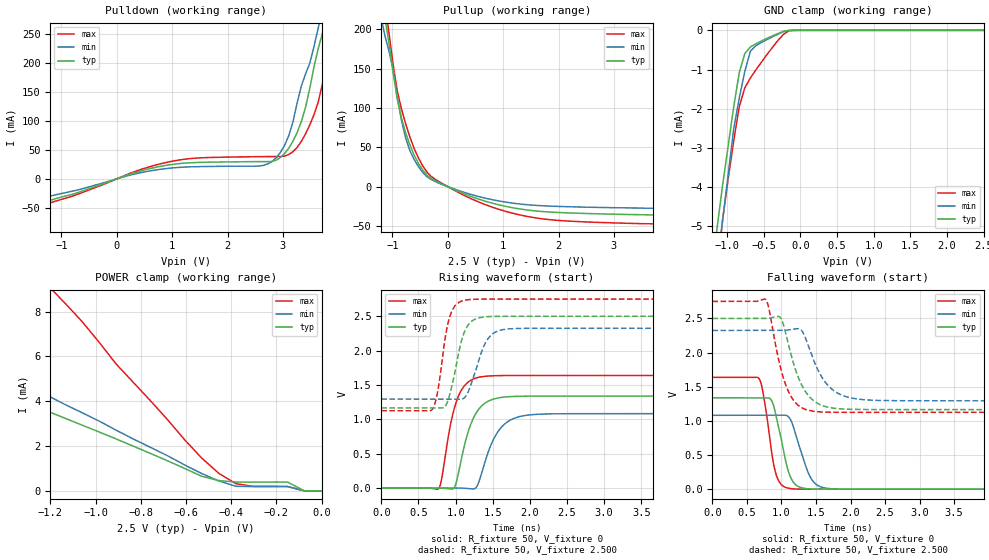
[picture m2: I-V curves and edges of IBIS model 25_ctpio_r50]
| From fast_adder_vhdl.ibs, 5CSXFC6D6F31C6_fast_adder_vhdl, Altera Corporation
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[Model]   25_ctpio_r50
Model_type  I/O
Polarity   Non-Inverting
Enable Active-Low
Vinl   = 0.700
Vinh   = 1.700
Vmeas  = 1.163
Rref   = 10M
Cref   = 0pF
Vref   = 0
C_comp 4.66pF   4.66pF   4.66pF
[Temperature Range] 25   85   0
[Voltage Range] 2.500   2.325   2.750
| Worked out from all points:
|   slope of the pulldown table from 0 to 0.375 V, typ, clamps not added: 31 ohm
|   slope of the pullup table from 0 to 0.375 V, typ, clamps not added: 33 ohm
|   GND clamp passes 1 mA (typ) near -0.82 V on its own axis
|   POWER clamp passes 1 mA (typ) near -0.61 V on its own axis
|   rising waveform, R_fixture 50, V_fixture 0: 20-80 % time 217ps typ, 251ps min, 186ps max; typ from 0 V to 1.34 V
|   falling waveform, R_fixture 50, V_fixture 0: 20-80 % time 176ps typ, 211ps min, 144ps max; typ from 1.34 V to 0 V
|   rising waveform, R_fixture 50, V_fixture 2.500: 20-80 % time 167ps typ, 199ps min, 137ps max; typ from 1.17 V to 2.5 V
|   falling waveform, R_fixture 50, V_fixture 2.500: 20-80 % time 272ps typ, 310ps min, 233ps max; typ from 2.5 V to 1.17 V
[GND Clamp]
| voltage   I (typ)   I (min)   I (max)
-2.5V     -28.31mA   -28.62mA   -31.67mA
-1.136V   -5.051mA   -6.026mA   -6.176mA
-1.061V   -3.951mA   -4.855mA   -4.829mA
-909.1mV  -1.953mA   -2.513mA   -2.816mA
-833.3mV  -1.079mA   -1.727mA   -1.946mA
-757.6mV  -592.2uA   -1.049mA   -1.465mA
-681.8mV  -424.2uA   -531.5uA   -1.216mA
-606.1mV  -342.8uA   -391.8uA   -1.007mA
-303mV    -80.99uA   -96.21uA   -250.3uA
-227.3mV  -23.99uA   -30.39uA   -97.77uA
-151.5mV  -2.012uA   -3.885uA   -6.515uA
2.5V      0A         0A         0A
[Pulldown]
| voltage   I (typ)   I (min)   I (max)
-2.5V     -72.58mA   -59.5mA    -80.81mA
833.3mV   22.3mA     17.03mA    26.98mA
2.727V    29.73mA    25.74mA    38.43mA
3.03V     43.73mA    57.86mA    39.23mA
3.182V    65.02mA    98.41mA    46.85mA
3.258V    79.85mA    131.1mA    54.14mA
3.409V    123.4mA    181.1mA    77.68mA
3.636V    224.3mA    259.6mA    132mA
3.712V    250.5mA    290.7mA    162.9mA
3.864V    325mA      351.4mA    240.9mA
3.939V    358.9mA    383mA      275.2mA
5V        888.2mA    819.8mA    871.8mA
[POWER Clamp]
| voltage   I (typ)   I (min)   I (max)
-2.5V     8.704mA    11.28mA    31.44mA
-2.046V   6.871mA    8.568mA    22.7mA
-1.97V    6.569mA    8.267mA    21.24mA
-1.212V   3.556mA    4.258mA    9.178mA
-1.136V   3.248mA    3.863mA    8.394mA
-909.1mV  2.321mA    2.712mA    5.667mA
-530.3mV  653.5uA    774.6uA    1.465mA
-454.6mV  460.5uA    443uA      782.7uA
-378.8mV  397.5uA    206.4uA    321.1uA
-151.5mV  397.5uA    194.6uA    199.6uA
-75.76mV  0A         0A         0A
0V        0A         0A         0A
[Pullup]
| voltage   I (typ)   I (min)   I (max)
-2.5V     907.2mA    764.3mA    1.038A
-1.212V   244.4mA    218.2mA    272.5mA
-1.136V   215.5mA    192.3mA    234.8mA
-1.061V   182.2mA    171.9mA    194.7mA
-909.1mV  110.1mA    113.1mA    120.6mA
-833.3mV  86.46mA    83.19mA    98.08mA
-681.8mV  52.62mA    45.34mA    62.67mA
-454.6mV  21.31mA    18.18mA    26.7mA
-227.3mV  7.556mA    6.346mA    9.377mA
681.8mV   -18.65mA   -14.73mA   -23mA
1.591V    -30.97mA   -23.87mA   -39.82mA
5V        -37.59mA   -28.64mA   -49.31mA
[Ramp]
dV/dt_r   8.030e-01/2.170e-10 6.492e-01/2.511e-10 9.828e-01/1.864e-10
dV/dt_f   8.007e-01/2.716e-10 6.183e-01/3.095e-10 9.750e-01/2.331e-10
R_load = 50ohms
[Rising Waveform]
R_fixture   = 50
V_fixture   = 0
V_fixture_min = 0
V_fixture_max = 0
| time   V (typ)   V (min)   V (max)
0s        1.246uV    6.054uV    2.787uV
772.2ps   121.8uV    6.301uV    -8.532mV
812.5ps   -358.1uV   6.548uV    132.8mV
967ps     -12.87mV   28.24uV    1.097V
1.021ns   130.8mV    131.5uV    1.29V
1.169ns   815.9mV    -8.359mV   1.542V
1.323ns   1.162V     119.7mV    1.614V
1.571ns   1.311V     822.4mV    1.635V
1.934ns   1.337V     1.055V     1.638V
6.709ns   1.338V     1.082V     1.638V
[Falling Waveform]
R_fixture   = 50
V_fixture   = 0
V_fixture_min = 0
V_fixture_max = 0
| time   V (typ)   V (min)   V (max)
0s        1.338V     1.082V     1.638V
676.9ps   1.338V     1.082V     1.617V
737.2ps   1.339V     1.082V     1.389V
837.8ps   1.325V     1.082V     685.1mV
911.5ps   1.122V     1.082V     254.2mV
1.086ns   310.8mV    1.073V     17.13mV
1.2ns     69.98mV    820mV      2.905mV
1.414ns   3.74mV     183.4mV    98.51uV
1.629ns   190.4uV    17.09mV    5.681uV
6.695ns   1.777uV    6.093uV    2.883uV
[Rising Waveform]
R_fixture   = 50
V_fixture   = 2.500
V_fixture_min = 2.325
V_fixture_max = 2.750
| time   V (typ)   V (min)   V (max)
0s        1.165V     1.294V     1.125V
691.7ps   1.165V     1.294V     1.151V
758.8ps   1.165V     1.294V     1.405V
859.5ps   1.189V     1.294V     2.185V
913.3ps   1.329V     1.294V     2.465V
993.9ps   1.701V     1.294V     2.654V
1.121ns   2.278V     1.316V     2.733V
1.41ns    2.492V     2.129V     2.749V
1.652ns   2.499V     2.308V     2.75V
6.709ns   2.5V       2.325V     2.75V
[Falling Waveform]
R_fixture   = 50
V_fixture   = 2.500
V_fixture_min = 2.325
V_fixture_max = 2.750
| time   V (typ)   V (min)   V (max)
0s        2.5V       2.325V     2.75V
777.4ps   2.5V       2.325V     2.773V
817.6ps   2.503V     2.325V     2.648V
978.5ps   2.521V     2.325V     1.811V
1.072ns   2.239V     2.328V     1.499V
1.28ns    1.552V     2.337V     1.201V
1.401ns   1.359V     2.066V     1.153V
1.669ns   1.201V     1.525V     1.128V
2.071ns   1.168V     1.325V     1.125V
6.695ns   1.165V     1.294V     1.125V
